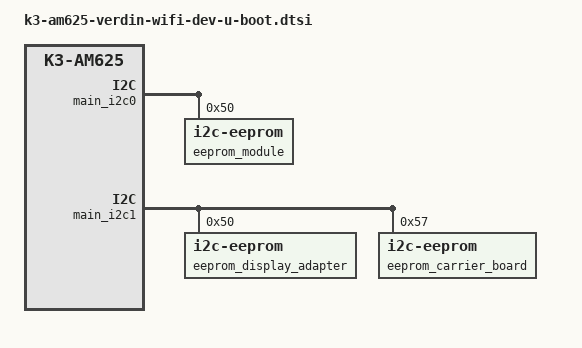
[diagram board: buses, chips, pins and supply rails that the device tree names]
// SPDX-License-Identifier: GPL-2.0-or-later OR MIT
/*
 * Copyright 2023 Toradex
 */

#include "k3-am625-verdin-wifi-dev-binman.dtsi"

/ {
	aliases {
		eeprom0 = &eeprom_module;
		eeprom1 = &eeprom_carrier_board;
		eeprom2 = &eeprom_display_adapter;
	};

	chosen {
		tick-timer = &main_timer0;
	};

	memory@80000000 {
		bootph-pre-ram;
	};
};

&cbass_main {
	bootph-pre-ram;

	timer@2400000 {
		clock-frequency = <25000000>;
		bootph-pre-ram;
	};
};

&cbass_mcu {
	bootph-pre-ram;
};

&cbass_wakeup {
	bootph-pre-ram;
};

&chipid {
	bootph-pre-ram;
};

&cpsw3g {
	bootph-pre-ram;
};

&cpsw3g_phy0 {
	bootph-pre-ram;
};

&cpsw3g_phy1 {
	bootph-pre-ram;
};

&cpsw_port1 {
	bootph-pre-ram;
};

&cpsw_port2 {
	bootph-pre-ram;
};

/* MDIO, shared by Verdin ETH_1 (On-module PHY) and Verdin ETH_2_RGMII */
&cpsw3g_mdio {
	/delete-property/ assigned-clocks;
	/delete-property/ assigned-clock-parents;
	/delete-property/ assigned-clock-rates;
	bootph-pre-ram;
};

&dmsc {
	bootph-pre-ram;

	k3_sysreset: sysreset-controller {
		compatible = "ti,sci-sysreset";
		bootph-pre-ram;
	};
};

&dmss {
	bootph-pre-ram;
};

&fss {
	bootph-pre-ram;
};

&k3_clks {
	bootph-pre-ram;
};

&k3_pds {
	bootph-pre-ram;
};

&k3_reset {
	bootph-pre-ram;
};

&main_gpio0 {
	bootph-pre-ram;
};

/* On-module I2C - PMIC_I2C */
&main_i2c0 {
	eeprom_module: eeprom@50 {
		compatible = "i2c-eeprom";
		pagesize = <16>;
		reg = <0x50>;
	};
};

/* Verdin I2C_1 */
&main_i2c1 {
	/* EEPROM on display adapter (MIPI DSI Display Adapter) */
	eeprom_display_adapter: eeprom@50 {
		compatible = "i2c-eeprom";
		reg = <0x50>;
		pagesize = <16>;
	};

	/* EEPROM on carrier board */
	eeprom_carrier_board: eeprom@57 {
		compatible = "i2c-eeprom";
		reg = <0x57>;
		pagesize = <16>;
	};
};

&main_pmx0 {
	bootph-pre-ram;
};

/* Verdin UART_3, used as the Linux console */
&main_uart0 {
	bootph-pre-ram;
};

/* Verdin UART_1 */
&main_uart1 {
	bootph-pre-ram;
};

&mcu_pmx0 {
	bootph-pre-ram;
};

&pinctrl_ctrl_sleep_moci {
	bootph-pre-ram;
};

&pinctrl_i2c0 {
	bootph-pre-ram;
};

&pinctrl_i2c1 {
	bootph-pre-ram;
};

&pinctrl_sdhci0 {
	bootph-pre-ram;
};

&pinctrl_uart0 {
	bootph-pre-ram;
};

&pinctrl_uart1 {
	bootph-pre-ram;
};

&pinctrl_wkup_uart0 {
	bootph-pre-ram;
};

&sdhci0 {
	bootph-pre-ram;
};

&sdhci2 {
	status = "disabled";
};

&secure_proxy_main {
	bootph-pre-ram;
};

&verdin_ctrl_sleep_moci {
	bootph-pre-ram;
};

&wkup_conf {
	bootph-pre-ram;
};

/* Verdin UART_2 */
&wkup_uart0 {
	bootph-pre-ram;
};
